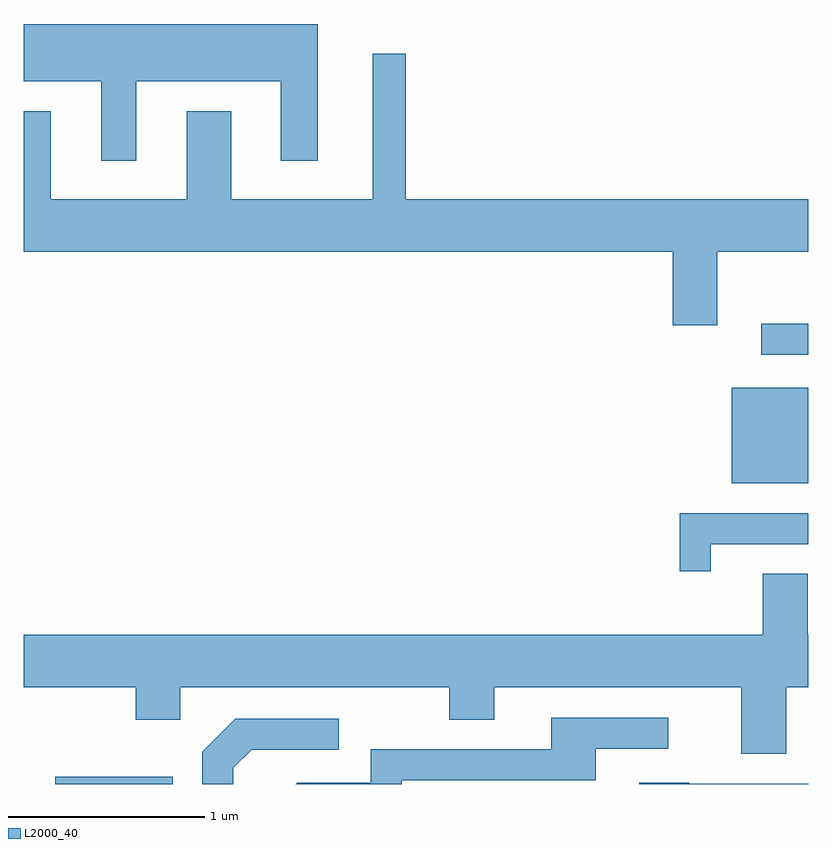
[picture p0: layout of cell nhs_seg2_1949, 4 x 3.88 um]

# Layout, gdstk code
import gdstk
lib = gdstk.Library(unit=1e-6, precision=1e-09)
def R(c, l, rs):  # rectangles x0, y0, x1, y1
    for r in rs: c.add(gdstk.rectangle(r[:2], r[2:], *l))
def P(c, l, *ps):  # polygons
    for p in ps: c.add(gdstk.Polygon(p, *l))
L2000_40 = (2000, 40)

nhs_seg2_1949 = lib.new_cell('nhs_seg2_1949')
R(nhs_seg2_1949, L2000_40, [(241.771,1067.802,242.369,1067.839), (245.221,1069.336,245.611,1069.824), (245.373,1069.991,245.611,1070.149)])
P(nhs_seg2_1949, L2000_40, [(242.184,1071.386),(242.921,1071.386),(242.921,1070.981),(243.109,1070.981),(243.109,1071.679),(241.611,1071.679),(241.611,1071.386),(242.006,1071.386),(242.006,1070.981),(242.184,1070.981)],
  [(245.149,1070.516),(245.611,1070.516),(245.611,1070.784),(243.559,1070.784),(243.559,1071.528),(243.391,1071.528),(243.391,1070.784),(242.669,1070.784),(242.669,1071.234),(242.441,1071.234),(242.441,1070.784),(241.749,1070.784),(241.749,1071.234),(241.611,1071.234),(241.611,1070.516),(244.921,1070.516),(244.921,1070.141),(245.149,1070.141)],
  [(245.114,1069.026),(245.611,1069.026),(245.611,1069.184),(244.956,1069.184),(244.956,1068.888),(245.114,1068.888)],
  [(245.499,1068.296),(245.611,1068.296),(245.611,1068.564),(245.609,1068.564),(245.609,1068.874),(245.381,1068.874),(245.381,1068.564),(241.611,1068.564),(241.611,1068.296),(242.181,1068.296),(242.181,1068.131),(242.409,1068.131),(242.409,1068.296),(243.781,1068.296),(243.781,1068.131),(244.009,1068.131),(244.009,1068.296),(245.271,1068.296),(245.271,1067.956),(245.499,1067.956)],
  [(243.539,1067.821),(244.529,1067.821),(244.529,1067.981),(244.898,1067.981),(244.898,1068.139),(244.301,1068.139),(244.301,1067.979),(243.381,1067.979),(243.381,1067.809),(243.004,1067.809),(242.997,1067.802),(243.539,1067.802)],
  [(242.679,1067.884),(242.772,1067.976),(243.218,1067.976),(243.218,1068.134),(242.689,1068.134),(242.521,1067.967),(242.521,1067.802),(242.679,1067.802)],
  [(245.611,1067.804),(245.005,1067.804),(245.005,1067.809),(244.751,1067.809),(244.751,1067.802),(245.611,1067.802)])

lib.write_gds('nhs_seg2_1949.gds')
